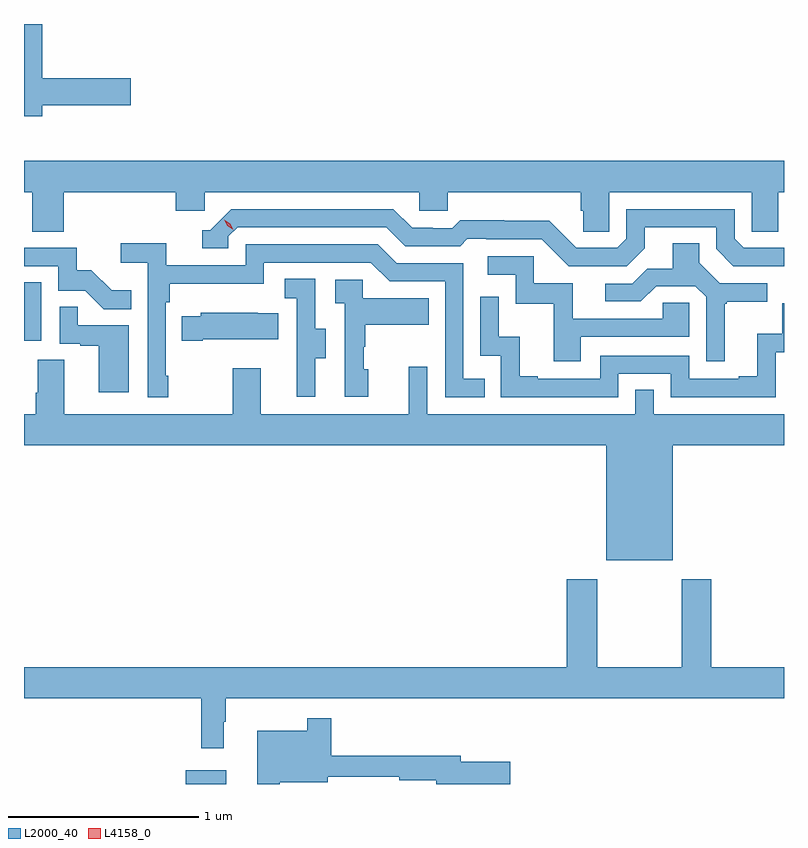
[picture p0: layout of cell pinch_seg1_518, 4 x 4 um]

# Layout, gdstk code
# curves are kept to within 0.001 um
import gdstk
lib = gdstk.Library(unit=1e-6, precision=1e-09)
def R(c, l, rs):  # rectangles x0, y0, x1, y1
    for r in rs: c.add(gdstk.rectangle(r[:2], r[2:], *l))
def P(c, l, *ps):  # polygons
    for p in ps: c.add(gdstk.Polygon(p, *l))
L2000_40 = (2000, 40)
L4158_0 = (4158, 0)

pinch_seg1_518 = lib.new_cell('pinch_seg1_518')
R(pinch_seg1_518, L2000_40, [(1072.892,529.969,1073.107,530.041), (1072.042,532.302,1072.132,532.609)])
P(pinch_seg1_518, L2000_40, [(1072.138,533.542),(1072.603,533.542),(1072.603,533.684),(1072.138,533.684),(1072.138,533.969),(1072.042,533.969),(1072.042,533.484),(1072.138,533.484)],
  [(1072.25,533.084),(1072.841,533.084),(1072.841,532.986),(1072.992,532.986),(1072.992,533.084),(1074.123,533.084),(1074.123,532.986),(1074.273,532.986),(1074.273,533.084),(1074.971,533.084),(1074.971,532.986),(1074.985,532.986),(1074.985,532.876),(1075.122,532.876),(1075.122,533.084),(1075.872,533.084),(1075.872,532.876),(1076.011,532.876),(1076.011,533.084),(1076.042,533.084),(1076.042,533.248),(1072.042,533.248),(1072.042,533.084),(1072.085,533.084),(1072.085,532.876),(1072.25,532.876)],
  [(1076.042,532.791),(1075.83,532.791),(1075.782,532.839),(1075.782,532.995),(1075.212,532.995),(1075.212,532.839),(1075.164,532.791),(1074.948,532.791),(1074.806,532.933),(1074.57,532.933),(1074.57,532.936),(1074.337,532.936),(1074.295,532.893),(1074.192,532.893),(1074.192,532.896),(1074.085,532.896),(1073.986,532.995),(1073.133,532.995),(1073.022,532.884),(1072.979,532.884),(1072.979,532.788),(1073.118,532.788),(1073.118,532.851),(1073.166,532.899),(1073.949,532.899),(1074.048,532.8),(1074.337,532.8),(1074.376,532.839),(1074.475,532.839),(1074.475,532.836),(1074.768,532.836),(1074.909,532.695),(1075.215,532.695),(1075.309,532.789),(1075.309,532.899),(1075.686,532.899),(1075.686,532.785),(1075.776,532.695),(1076.042,532.694)],
  [(1072.801,532.117),(1072.788,532.117),(1072.788,532.505),(1072.808,532.505),(1072.808,532.601),(1073.304,532.601),(1073.304,532.713),(1073.868,532.713),(1073.967,532.614),(1074.258,532.614),(1074.258,532.005),(1074.467,532.005),(1074.467,532.101),(1074.354,532.101),(1074.354,532.71),(1074.004,532.71),(1073.905,532.809),(1073.208,532.809),(1073.208,532.698),(1072.79,532.698),(1072.79,532.814),(1072.551,532.814),(1072.551,532.712),(1072.692,532.712),(1072.692,532.005),(1072.801,532.005)],
  [(1075.729,532.497),(1075.741,532.497),(1075.741,532.508),(1075.954,532.508),(1075.954,532.605),(1075.704,532.605),(1075.597,532.712),(1075.597,532.814),(1075.457,532.814),(1075.457,532.682),(1075.322,532.682),(1075.242,532.602),(1075.101,532.602),(1075.101,532.509),(1075.288,532.509),(1075.369,532.59),(1075.575,532.59),(1075.632,532.533),(1075.632,532.194),(1075.729,532.194)],
  [(1072.607,532.567),(1072.503,532.567),(1072.396,532.674),(1072.32,532.674),(1072.32,532.791),(1072.042,532.791),(1072.042,532.695),(1072.221,532.695),(1072.221,532.566),(1072.365,532.566),(1072.463,532.468),(1072.607,532.468)],
  [(1074.973,532.323),(1075.542,532.323),(1075.542,532.503),(1075.405,532.503),(1075.405,532.419),(1074.931,532.419),(1074.931,532.605),(1074.726,532.605),(1074.726,532.746),(1074.483,532.746),(1074.483,532.65),(1074.63,532.65),(1074.63,532.497),(1074.829,532.497),(1074.829,532.194),(1074.973,532.194)],
  [(1073.575,532.21),(1073.629,532.21),(1073.629,532.365),(1073.574,532.365),(1073.574,532.628),(1073.415,532.628),(1073.415,532.525),(1073.478,532.525),(1073.478,532.221),(1073.477,532.221),(1073.477,532.008),(1073.575,532.008)],
  [(1073.854,532.152),(1073.829,532.152),(1073.829,532.271),(1073.839,532.271),(1073.839,532.385),(1074.173,532.385),(1074.173,532.525),(1073.826,532.525),(1073.826,532.623),(1073.679,532.623),(1073.679,532.499),(1073.73,532.499),(1073.73,532.008),(1073.854,532.008)],
  [(1075.17,532.128),(1075.446,532.128),(1075.446,532.005),(1075.998,532.005),(1075.998,532.241),(1076.042,532.241),(1076.042,532.5),(1076.034,532.5),(1076.034,532.339),(1075.901,532.339),(1075.901,532.114),(1075.805,532.114),(1075.805,532.101),(1075.542,532.101),(1075.542,532.224),(1075.074,532.224),(1075.074,532.101),(1074.745,532.101),(1074.745,532.114),(1074.65,532.114),(1074.65,532.322),(1074.54,532.322),(1074.54,532.534),(1074.444,532.534),(1074.444,532.224),(1074.552,532.224),(1074.552,532.005),(1075.17,532.005)],
  [(1072.594,532.383),(1072.325,532.383),(1072.325,532.481),(1072.23,532.481),(1072.23,532.287),(1072.337,532.287),(1072.337,532.275),(1072.436,532.275),(1072.436,532.032),(1072.594,532.032)],
  [(1072.984,532.31),(1073.381,532.31),(1073.381,532.447),(1073.273,532.447),(1073.273,532.45),(1072.971,532.45),(1072.971,532.432),(1072.873,532.432),(1072.873,532.303),(1072.984,532.303)],
  [(1075.456,531.752),(1076.042,531.752),(1076.042,531.916),(1075.356,531.916),(1075.356,532.043),(1075.26,532.043),(1075.26,531.916),(1074.165,531.916),(1074.165,532.165),(1074.068,532.165),(1074.068,531.916),(1073.287,531.916),(1073.287,532.156),(1073.14,532.156),(1073.14,531.916),(1072.255,531.916),(1072.255,532.202),(1072.115,532.202),(1072.115,532.028),(1072.103,532.028),(1072.103,531.916),(1072.042,531.916),(1072.042,531.752),(1075.106,531.752),(1075.106,531.146),(1075.456,531.146)],
  [(1073.092,530.297),(1073.104,530.297),(1073.104,530.42),(1076.042,530.42),(1076.042,530.584),(1075.659,530.584),(1075.659,531.046),(1075.504,531.046),(1075.504,530.584),(1075.059,530.584),(1075.059,531.046),(1074.899,531.046),(1074.899,530.584),(1072.042,530.584),(1072.042,530.42),(1072.975,530.42),(1072.975,530.157),(1073.092,530.157)],
  [(1073.387,529.979),(1073.641,529.979),(1073.641,530.008),(1074.016,530.008),(1074.016,529.99),(1074.212,529.99),(1074.212,529.969),(1074.601,529.969),(1074.601,530.085),(1074.34,530.085),(1074.34,530.119),(1073.66,530.119),(1073.66,530.314),(1073.532,530.314),(1073.532,530.248),(1073.27,530.248),(1073.27,529.969),(1073.387,529.969)])
P(pinch_seg1_518, L4158_0, [(1073.144,532.886),(1073.113,532.906),(1073.097,532.939),(1073.097,532.939),(1073.097,532.939),(1073.128,532.919),(1073.144,532.887),(1073.144,532.886)])

lib.write_gds('pinch_seg1_518.gds')
